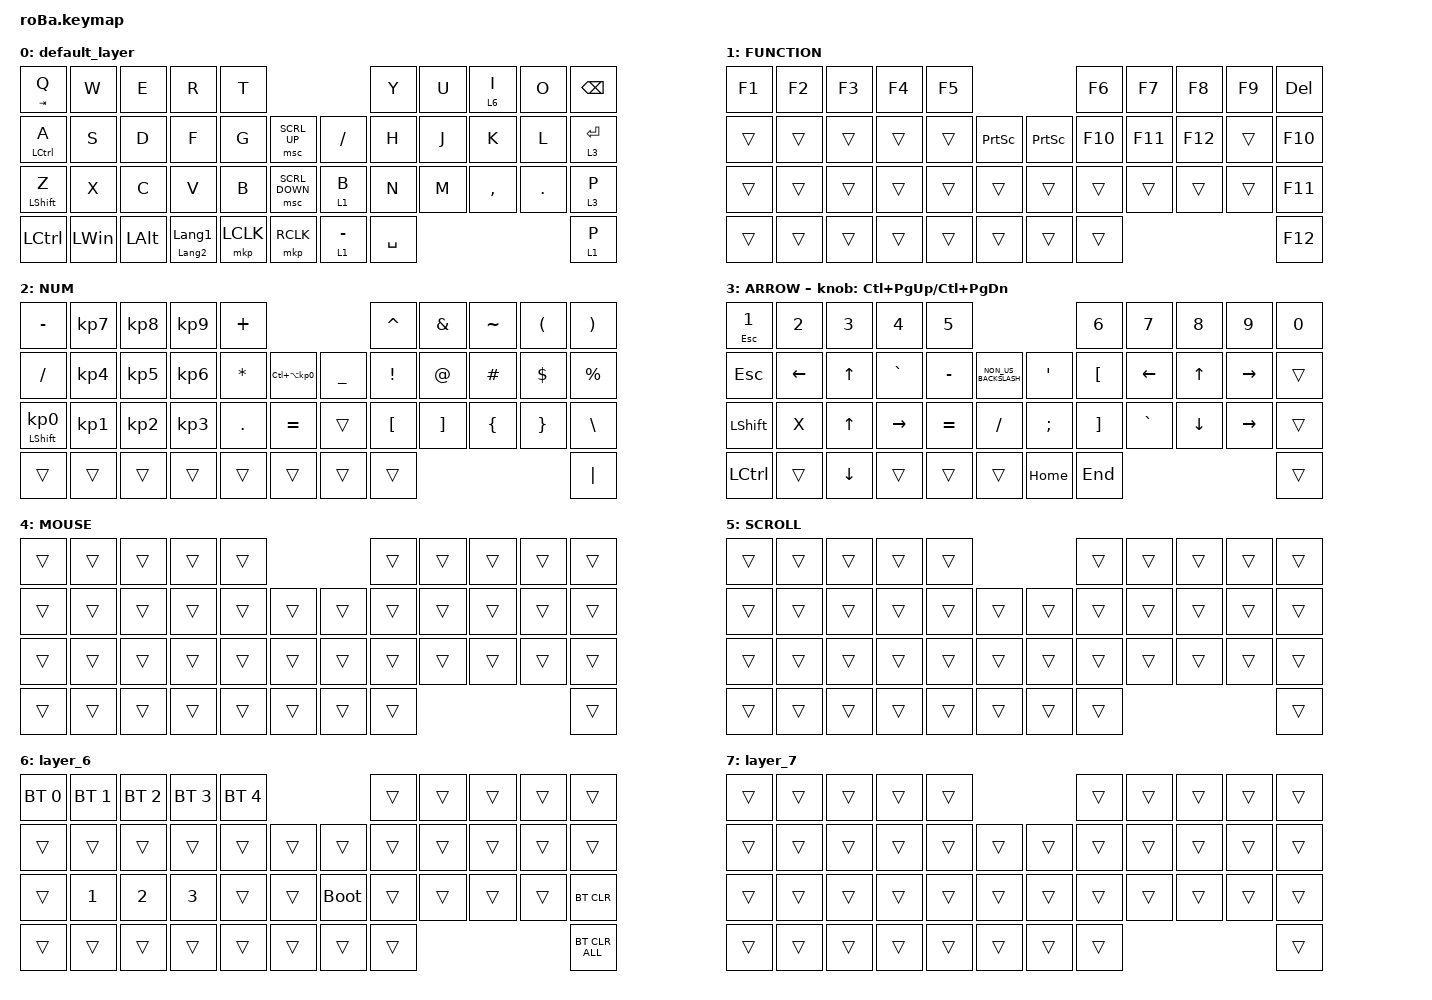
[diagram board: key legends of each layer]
#include <behaviors.dtsi>
#include <dt-bindings/zmk/bt.h>
#include <dt-bindings/zmk/keys.h>
#include <dt-bindings/zmk/pointing.h>

&mt {
    flavor = "balanced";
    quick-tap-ms = <0>;
};

&trackball {
    automouse-layer = <4>;
    scroll-layers = <5>;

    // arrows {
    //     layers = <3>;
    //     bindings =
    //         <&kp RIGHT_ARROW>,
    //         <&kp LEFT_ARROW>,
    //         <&kp UP_ARROW>,
    //         <&kp DOWN_ARROW>;
    //     tick = <10>;
    //     wait-ms = <5>;
    //     tap-ms = <5>;
    // };
};

/ {
    combos {
        compatible = "zmk,combos";

        tab {
            bindings = <&kp TAB>;
            key-positions = <11 12>;
        };

        shift_tab {
            bindings = <&kp LS(TAB)>;
            key-positions = <12 13>;
        };

        ctrlA {
            bindings = <&kp LC(A)>;
            key-positions = <11 10>;
        };

        double_quotation {
            bindings = <&kp DOUBLE_QUOTES>;
            key-positions = <20 21>;
        };

        eq {
            bindings = <&kp EQUAL>;
            key-positions = <24 25>;
        };

        esc {
            bindings = <&kp ESCAPE>;
            key-positions = <0 1>;
        };

        Capitalz {
            bindings = <&kp LS(Z)>;
            key-positions = <22 23>;
        };
    };

    macros {
        to_layer_0: to_layer_0 {
            compatible = "zmk,behavior-macro-one-param";
            #binding-cells = <1>;
            bindings = <&to 0 &macro_param_1to1 &kp MACRO_PLACEHOLDER>;
            label = "TO_LAYER_0";
        };
    };

    behaviors {
        lt_to_layer_0: lt_to_layer_0 {
            compatible = "zmk,behavior-hold-tap";
            label = "LAYER_TAP_TO_0";
            bindings = <&mo>, <&to_layer_0>;

            #binding-cells = <2>;
            tapping-term-ms = <200>;
        };
    };

    keymap {
        compatible = "zmk,keymap";

        default_layer {
            bindings = <
&mt TAB Q         &kp W         &kp E         &kp R                      &kp T                                       &kp Y      &kp U  &lt 6 I    &kp O    &kp BACKSPACE
&mt LCTRL A       &kp S         &kp D         &kp F                      &kp G      &msc SCRL_UP        &kp SLASH    &kp H      &kp J  &kp K      &kp L    &lt 3 ENTER
&mt LEFT_SHIFT Z  &kp X         &kp C         &kp V                      &kp B      &msc SCRL_DOWN      &lt 1 B      &kp N      &kp M  &kp COMMA  &kp DOT  &lt 3 P
&kp LCTRL         &kp LEFT_WIN  &kp LEFT_ALT  &mt LANGUAGE_2 LANGUAGE_1  &mkp LCLK  &mkp RCLK           &lt 1 MINUS  &kp SPACE                             &lt 1 P
            >;
        };

        FUNCTION {
            bindings = <
&kp F1  &kp F2  &kp F3  &kp F4  &kp F5                                  &kp F6   &kp F7   &kp F8   &kp F9  &kp DELETE
&trans  &trans  &trans  &trans  &trans  &kp PRINTSCREEN      &kp PSCRN  &kp F10  &kp F11  &kp F12  &trans  &kp F10
&trans  &trans  &trans  &trans  &trans  &trans               &trans     &trans   &trans   &trans   &trans  &kp F11
&trans  &trans  &trans  &trans  &trans  &trans               &trans     &trans                             &kp F12
            >;
        };

        NUM {
            bindings = <
&kp MINUS                   &kp KP_NUMBER_7  &kp KP_NUMBER_8  &kp KP_NUMBER_9  &kp PLUS                                                   &kp CARET         &kp AMPERSAND      &kp TILDE       &kp LEFT_PARENTHESIS  &kp RIGHT_PARENTHESIS
&kp SLASH                   &kp KP_NUMBER_4  &kp KP_NUMBER_5  &kp KP_NUMBER_6  &kp ASTERISK  &kp LC(LA(KP_NUMBER_0))      &kp UNDERSCORE  &kp EXCLAMATION   &kp AT_SIGN        &kp HASH        &kp DOLLAR            &kp PERCENT
&mt LEFT_SHIFT KP_NUMBER_0  &kp KP_NUMBER_1  &kp KP_NUMBER_2  &kp KP_NUMBER_3  &kp PERIOD    &kp EQUAL                    &trans          &kp LEFT_BRACKET  &kp RIGHT_BRACKET  &kp LEFT_BRACE  &kp RIGHT_BRACE       &kp BACKSLASH
&trans                      &trans           &trans           &trans           &trans        &trans                       &trans          &trans                                                                     &kp PIPE
            >;
        };

        ARROW {
            bindings = <
&mt ESCAPE NUMBER_1  &kp NUMBER_2    &kp NUMBER_3  &kp NUMBER_4  &kp NUMBER_5                                           &kp NUMBER_6       &kp NUMBER_7  &kp NUMBER_8  &kp NUMBER_9     &kp NUMBER_0
&kp ESCAPE           &kp LEFT_ARROW  &kp UP_ARROW  &kp GRAVE     &kp MINUS     &kp NON_US_BACKSLASH      &kp SQT        &kp LEFT_BRACKET   &kp LEFT      &kp UP_ARROW  &kp RIGHT_ARROW  &trans
&kp LEFT_SHIFT       &kp X           &kp UP_ARROW  &kp RIGHT     &kp EQUAL     &kp SLASH                 &kp SEMICOLON  &kp RIGHT_BRACKET  &kp GRAVE     &kp DOWN      &kp RIGHT        &trans
&kp LEFT_CONTROL     &trans          &kp DOWN      &trans        &trans        &trans                    &kp HOME       &kp END                                                         &trans
            >;

            sensor-bindings = <&inc_dec_kp LC(PAGE_UP) LC(PAGE_DOWN)>;
        };

        MOUSE {
            bindings = <
&trans  &trans  &trans  &trans  &trans                      &trans  &trans  &trans  &trans  &trans
&trans  &trans  &trans  &trans  &trans  &trans      &trans  &trans  &trans  &trans  &trans  &trans
&trans  &trans  &trans  &trans  &trans  &trans      &trans  &trans  &trans  &trans  &trans  &trans
&trans  &trans  &trans  &trans  &trans  &trans      &trans  &trans                          &trans
            >;
        };

        SCROLL {
            bindings = <
&trans  &trans  &trans  &trans  &trans                      &trans  &trans  &trans  &trans  &trans
&trans  &trans  &trans  &trans  &trans  &trans      &trans  &trans  &trans  &trans  &trans  &trans
&trans  &trans  &trans  &trans  &trans  &trans      &trans  &trans  &trans  &trans  &trans  &trans
&trans  &trans  &trans  &trans  &trans  &trans      &trans  &trans                          &trans
            >;
        };

        layer_6 {
            bindings = <
&bt BT_SEL 0  &bt BT_SEL 1  &bt BT_SEL 2  &bt BT_SEL 3  &bt BT_SEL 4                           &trans  &trans  &trans  &trans  &trans
&trans        &trans        &trans        &trans        &trans        &trans      &trans       &trans  &trans  &trans  &trans  &trans
&trans        &kp NUMBER_1  &kp NUMBER_2  &kp NUMBER_3  &trans        &trans      &bootloader  &trans  &trans  &trans  &trans  &bt BT_CLR
&trans        &trans        &trans        &trans        &trans        &trans      &trans       &trans                          &bt BT_CLR_ALL
            >;
        };

        layer_7 {
            bindings = <
&trans  &trans  &trans  &trans  &trans                      &trans  &trans  &trans  &trans  &trans
&trans  &trans  &trans  &trans  &trans  &trans      &trans  &trans  &trans  &trans  &trans  &trans
&trans  &trans  &trans  &trans  &trans  &trans      &trans  &trans  &trans  &trans  &trans  &trans
&trans  &trans  &trans  &trans  &trans  &trans      &trans  &trans                          &trans
            >;
        };
    };
};
